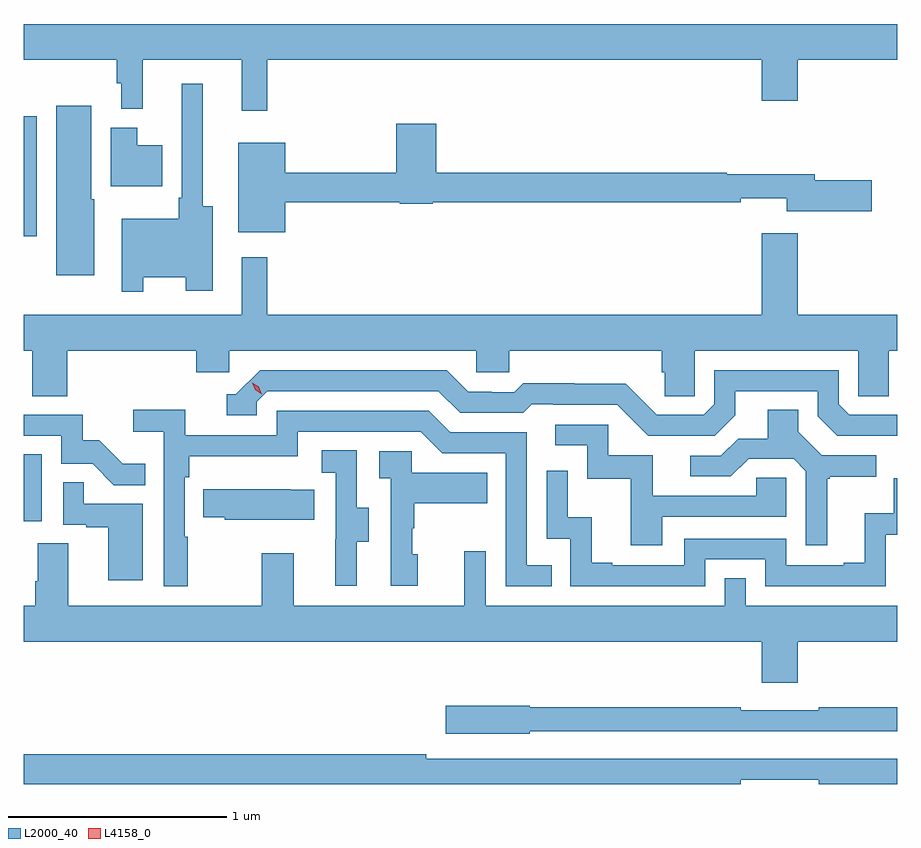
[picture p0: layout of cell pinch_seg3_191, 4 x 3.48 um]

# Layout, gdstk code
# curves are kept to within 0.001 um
import gdstk
lib = gdstk.Library(unit=1e-6, precision=1e-09)
def R(c, l, rs):  # rectangles x0, y0, x1, y1
    for r in rs: c.add(gdstk.rectangle(r[:2], r[2:], *l))
def P(c, l, *ps):  # polygons
    for p in ps: c.add(gdstk.Polygon(p, *l))
L2000_40 = (2000, 40)
L4158_0 = (4158, 0)

pinch_seg3_191 = lib.new_cell('pinch_seg3_191')
R(pinch_seg3_191, L2000_40, [(976.812,745.422,976.894,745.729), (976.812,746.727,976.872,747.278)])
P(pinch_seg3_191, L2000_40, [(977.927,747.536),(980.192,747.536),(980.192,747.348),(980.356,747.348),(980.356,747.536),(980.812,747.536),(980.812,747.7),(976.812,747.7),(976.812,747.536),(977.239,747.536),(977.239,747.429),(977.258,747.429),(977.258,747.311),(977.357,747.311),(977.357,747.536),(977.81,747.536),(977.81,747.303),(977.927,747.303)],
  [(977.36,746.54),(977.555,746.54),(977.555,746.478),(977.677,746.478),(977.677,746.866),(977.632,746.866),(977.632,747.427),(977.535,747.427),(977.535,746.905),(977.523,746.905),(977.523,746.809),(977.262,746.809),(977.262,746.475),(977.36,746.475)],
  [(977.134,746.898),(977.122,746.898),(977.122,747.325),(976.961,747.325),(976.961,746.55),(977.134,746.55)],
  [(978.01,746.884),(978.534,746.884),(978.534,746.876),(978.684,746.876),(978.684,746.884),(980.096,746.884),(980.096,746.903),(980.306,746.903),(980.306,746.842),(980.695,746.842),(980.695,746.984),(980.434,746.984),(980.434,747.013),(980.03,747.013),(980.03,747.02),(978.701,747.02),(978.701,747.244),(978.518,747.244),(978.518,747.02),(978.01,747.02),(978.01,747.157),(977.795,747.157),(977.795,746.747),(978.01,746.747)],
  [(977.446,747.145),(977.332,747.145),(977.332,747.226),(977.21,747.226),(977.21,746.957),(977.446,746.957)],
  [(977.012,746.204),(977.603,746.204),(977.603,746.106),(977.754,746.106),(977.754,746.204),(978.885,746.204),(978.885,746.106),(979.035,746.106),(979.035,746.204),(979.733,746.204),(979.733,746.106),(979.747,746.106),(979.747,745.996),(979.884,745.996),(979.884,746.204),(980.634,746.204),(980.634,745.996),(980.773,745.996),(980.773,746.204),(980.812,746.204),(980.812,746.368),(980.356,746.368),(980.356,746.743),(980.192,746.743),(980.192,746.368),(977.927,746.368),(977.927,746.632),(977.81,746.632),(977.81,746.368),(976.812,746.368),(976.812,746.204),(976.852,746.204),(976.852,745.996),(977.012,745.996)],
  [(980.812,745.911),(980.592,745.911),(980.544,745.959),(980.544,746.115),(979.974,746.115),(979.974,745.959),(979.926,745.911),(979.71,745.911),(979.568,746.053),(979.332,746.053),(979.332,746.056),(979.099,746.056),(979.057,746.013),(978.954,746.013),(978.954,746.016),(978.847,746.016),(978.748,746.115),(977.895,746.115),(977.784,746.004),(977.741,746.004),(977.741,745.908),(977.88,745.908),(977.88,745.971),(977.928,746.019),(978.711,746.019),(978.81,745.92),(979.099,745.92),(979.138,745.959),(979.237,745.959),(979.237,745.956),(979.53,745.956),(979.671,745.815),(979.977,745.815),(980.071,745.909),(980.071,746.019),(980.448,746.019),(980.448,745.905),(980.538,745.815),(980.812,745.814)],
  [(980.491,745.617),(980.503,745.617),(980.503,745.628),(980.716,745.628),(980.716,745.725),(980.466,745.725),(980.359,745.832),(980.359,745.934),(980.219,745.934),(980.219,745.802),(980.084,745.802),(980.004,745.722),(979.863,745.722),(979.863,745.629),(980.05,745.629),(980.131,745.71),(980.337,745.71),(980.394,745.653),(980.394,745.314),(980.491,745.314)],
  [(977.563,745.352),(977.55,745.352),(977.55,745.625),(977.57,745.625),(977.57,745.721),(978.066,745.721),(978.066,745.833),(978.63,745.833),(978.729,745.734),(979.02,745.734),(979.02,745.125),(979.229,745.125),(979.229,745.221),(979.116,745.221),(979.116,745.83),(978.766,745.83),(978.667,745.929),(977.97,745.929),(977.97,745.818),(977.552,745.818),(977.552,745.934),(977.313,745.934),(977.313,745.832),(977.454,745.832),(977.454,745.125),(977.563,745.125)],
  [(977.369,745.687),(977.265,745.687),(977.158,745.794),(977.082,745.794),(977.082,745.911),(976.812,745.911),(976.812,745.815),(976.983,745.815),(976.983,745.686),(977.127,745.686),(977.225,745.588),(977.369,745.588)],
  [(979.735,745.443),(980.304,745.443),(980.304,745.623),(980.167,745.623),(980.167,745.539),(979.693,745.539),(979.693,745.725),(979.488,745.725),(979.488,745.866),(979.245,745.866),(979.245,745.77),(979.392,745.77),(979.392,745.617),(979.591,745.617),(979.591,745.314),(979.735,745.314)],
  [(978.337,745.33),(978.391,745.33),(978.391,745.485),(978.336,745.485),(978.336,745.748),(978.177,745.748),(978.177,745.645),(978.24,745.645),(978.24,745.341),(978.239,745.341),(978.239,745.128),(978.337,745.128)],
  [(978.616,745.272),(978.591,745.272),(978.591,745.391),(978.601,745.391),(978.601,745.505),(978.935,745.505),(978.935,745.645),(978.588,745.645),(978.588,745.743),(978.441,745.743),(978.441,745.619),(978.492,745.619),(978.492,745.128),(978.616,745.128)],
  [(979.932,745.248),(980.208,745.248),(980.208,745.125),(980.76,745.125),(980.76,745.361),(980.812,745.361),(980.812,745.62),(980.796,745.62),(980.796,745.459),(980.663,745.459),(980.663,745.234),(980.567,745.234),(980.567,745.221),(980.304,745.221),(980.304,745.344),(979.836,745.344),(979.836,745.221),(979.507,745.221),(979.507,745.234),(979.412,745.234),(979.412,745.442),(979.302,745.442),(979.302,745.654),(979.206,745.654),(979.206,745.344),(979.314,745.344),(979.314,745.125),(979.932,745.125)],
  [(977.356,745.503),(977.087,745.503),(977.087,745.601),(976.992,745.601),(976.992,745.407),(977.099,745.407),(977.099,745.395),(977.198,745.395),(977.198,745.152),(977.356,745.152)],
  [(978.143,745.567),(978.035,745.567),(978.035,745.57),(977.635,745.57),(977.635,745.441),(977.733,745.441),(977.733,745.43),(978.143,745.43)],
  [(980.356,744.872),(980.812,744.872),(980.812,745.036),(980.118,745.036),(980.118,745.163),(980.022,745.163),(980.022,745.036),(978.927,745.036),(978.927,745.285),(978.83,745.285),(978.83,745.036),(978.049,745.036),(978.049,745.276),(977.902,745.276),(977.902,745.036),(977.017,745.036),(977.017,745.322),(976.877,745.322),(976.877,745.148),(976.865,745.148),(976.865,745.036),(976.812,745.036),(976.812,744.872),(980.192,744.872),(980.192,744.684),(980.356,744.684)],
  [(979.128,744.462),(980.812,744.462),(980.812,744.571),(980.452,744.571),(980.452,744.558),(980.096,744.558),(980.096,744.571),(979.128,744.571),(979.128,744.579),(978.744,744.579),(978.744,744.449),(979.128,744.449)],
  [(980.096,744.239),(980.452,744.239),(980.452,744.22),(980.812,744.22),(980.812,744.336),(978.656,744.336),(978.656,744.356),(976.812,744.356),(976.812,744.22),(980.096,744.22)])
P(pinch_seg3_191, L4158_0, [(977.903,746.004),(977.873,746.025),(977.858,746.057),(977.858,746.058),(977.858,746.058),(977.888,746.038),(977.903,746.005),(977.903,746.004)])

lib.write_gds('pinch_seg3_191.gds')
